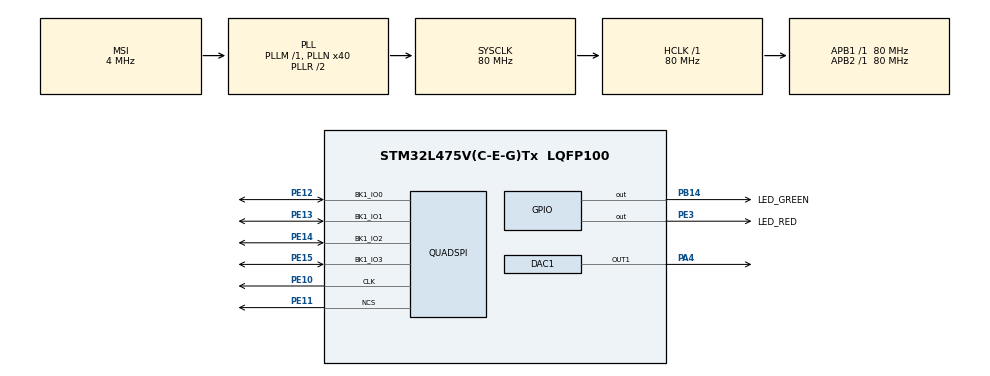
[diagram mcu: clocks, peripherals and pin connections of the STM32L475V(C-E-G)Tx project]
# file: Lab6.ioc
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DAC1.DAC_Trigger-DAC_OUT1=DAC_TRIGGER_T2_TRGO
Dma.DAC_CH1.0.Direction=DMA_MEMORY_TO_PERIPH
Dma.DAC_CH1.0.Instance=DMA1_Channel3
Dma.DAC_CH1.0.MemDataAlignment=DMA_MDATAALIGN_BYTE
Dma.DAC_CH1.0.MemInc=DMA_MINC_ENABLE
Dma.DAC_CH1.0.Mode=DMA_NORMAL
Dma.DAC_CH1.0.PeriphDataAlignment=DMA_PDATAALIGN_BYTE
Dma.DAC_CH1.0.PeriphInc=DMA_PINC_DISABLE
Dma.DAC_CH1.0.Priority=DMA_PRIORITY_LOW
Dma.Request0=DAC_CH1
Mcu.Family=STM32L4
Mcu.Name=STM32L475V(C-E-G)Tx
Mcu.Package=LQFP100
NVIC.DMA1_Channel3_IRQn=true\:0\:0\:false\:false\:true\:false\:true
NVIC.PriorityGroup=NVIC_PRIORITYGROUP_4
NVIC.TIM2_IRQn=true\:0\:0\:false\:false\:true\:true\:true
PA4.Signal=COMP_DAC11_group
PB14.GPIO_Label=LED_GREEN
PB14.Signal=GPIO_Output
PE10.Mode=Single Bank
PE10.Signal=QUADSPI_CLK
PE11.Mode=Single Bank
PE11.Signal=QUADSPI_NCS
PE12.Mode=Single Bank
PE12.Signal=QUADSPI_BK1_IO0
PE13.Mode=Single Bank
PE13.Signal=QUADSPI_BK1_IO1
PE14.Mode=Single Bank
PE14.Signal=QUADSPI_BK1_IO2
PE15.Mode=Single Bank
PE15.Signal=QUADSPI_BK1_IO3
PE3.GPIO_Label=LED_RED
PE3.PinState=GPIO_PIN_SET
PE3.Signal=GPIO_Output
ProjectManager.HeapSize=0x200
ProjectManager.StackSize=0x400
ProjectManager.TargetToolchain=STM32CubeIDE
RCC.ADCFreq_Value=48000000
RCC.AHBFreq_Value=80000000
RCC.APB1Freq_Value=80000000
RCC.APB1TimFreq_Value=80000000
RCC.APB2Freq_Value=80000000
RCC.APB2TimFreq_Value=80000000
RCC.CortexFreq_Value=80000000
RCC.HCLKFreq_Value=80000000
RCC.HSE_VALUE=8000000
RCC.HSI_VALUE=16000000
RCC.LSE_VALUE=32768
RCC.MSI_VALUE=4000000
RCC.PLLN=40
RCC.PLLSAI1N=24
RCC.SYSCLKFreq_VALUE=80000000
RCC.SYSCLKSource=RCC_SYSCLKSOURCE_PLLCLK
RCC.USBFreq_Value=48000000
RCC.VCOOutputFreq_Value=160000000
SH.COMP_DAC11_group.0=DAC1_OUT1,DAC_OUT1
TIM2.Period=1814
TIM2.TIM_MasterOutputTrigger=TIM_TRGO_UPDATE
VP_TIM2_VS_ClockSourceINT.Mode=Internal
board=B-L475E-IOT01A1

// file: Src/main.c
/* USER CODE BEGIN Header */
/**
  ******************************************************************************
  * @file           : main.c
  * @brief          : Main program body
  ******************************************************************************
  * @attention
  *
  * <h2><center>&copy; Copyright (c) 2020 STMicroelectronics.
  * All rights reserved.</center></h2>
  *
  * This software component is licensed by ST under BSD 3-Clause license,
  * the "License"; You may not use this file except in compliance with the
  * License. You may obtain a copy of the License at:
  *                        opensource.org/licenses/BSD-3-Clause
  *
  ******************************************************************************
  */
/* USER CODE END Header */
#include "main.h"

/* USER CODE BEGIN Includes */
#define ARM_MATH_CM4
#include "arm_math.h"
#include "stm32l475e_iot01_qspi.h"

/* USER CODE END Includes */

DAC_HandleTypeDef hdac1;
DMA_HandleTypeDef hdma_dac_ch1;

QSPI_HandleTypeDef hqspi;

TIM_HandleTypeDef htim2;

void SystemClock_Config(void);
static void MX_GPIO_Init(void);
static void MX_DMA_Init(void);
static void MX_DAC1_Init(void);
static void MX_QUADSPI_Init(void);
static void MX_TIM2_Init(void);

/* USER CODE BEGIN 0 */

//The timer frequency is 44.1 kHz,
#define pi 3.14159265
	uint8_t play[22050] = {0};
	uint8_t sensorType = 0;

/* USER CODE END 0 */

int main(void)
{

  /* MCU Configuration--------------------------------------------------------*/

  /* Reset of all peripherals, Initializes the Flash interface and the Systick. */
  HAL_Init();

  /* Configure the system clock */
  SystemClock_Config();

  /* Initialize all configured peripherals */
  MX_GPIO_Init();
  MX_DMA_Init();
  MX_DAC1_Init();
  MX_QUADSPI_Init();
  MX_TIM2_Init();
  /* USER CODE BEGIN 2 */
  BSP_QSPI_Init();
  HAL_TIM_Base_Start_IT(&htim2);

  //Tone 1
  //C6 1046.5 Hz
  //sample n = 44.1k/1046.5 = 42
  	uint8_t C6[42];
  	for(int i = 0; i < 42; i++){
  		C6[i] =  0.33*(1 + arm_sin_f32(2*pi*i/42))*256;
  	}

  //Tone 2
  //E6 1318.5 Hz
  //sample n = 44.1k/1318.5 = 34
  	uint8_t E6[34];
  	for(int i = 0; i < 34; i++){
  		E6[i] =  0.33*(1 + arm_sin_f32(2*pi*i/34))*256;
  	}

  //Tone 3
  //G6 1568.0 Hz
  //sample n = 44.1k/1568 = 28
  	uint8_t G6[28];
  	for(int i = 0; i < 28; i++){
  		G6[i] =  0.33*(1 + arm_sin_f32(2*pi*i/28))*256;
  	}

  //Tone 4
  //A6 1760.0 Hz
  // sample n = 44.1k/1760 = 25
  	uint8_t A6[25];
  	for(int i = 0; i < 25; i++){
  		A6[i] =  0.33*(1 + arm_sin_f32(2*pi*i/25))*256;
  	}

  //Tone 5
  //B6 1975.53 Hz
  //sample n = 44.1k/1975.5 = 22
  	uint8_t B6[22];

  	for(int i = 0; i < 22; i++){
  		B6[i] =  0.33*(1 + arm_sin_f32(2*pi*i/22))*256;
  	}

  //Tone 6
  //B5 987.78 Hz
  //sample n = 44.1k/987.78 = 45
  	uint8_t B5[45];

  	for(int i = 0; i < 45; i++){
  		B5[i] =  0.33*(1 + arm_sin_f32(2*pi*i/45))*256;
  	}

  //Erase 9 blocks prior to write in
  uint32_t addr = 0x000000;
  for(int i = 0; i < 9; i++){
	  if(BSP_QSPI_Erase_Block(addr + i * 0x010000) != QSPI_OK){
		  Error_Handler();
	  }
  }

  //After erased the blocks, we can write in the samples of tones
  //Write in tone1 B5, start at 0
  uint32_t tone_addr = 0x000000;
  for(int i = 0; i < 490; i++){
	  if(BSP_QSPI_Write((uint8_t *)B5, tone_addr, 45) != QSPI_OK){
		  Error_Handler();
	  }
	  tone_addr += 45;
  }
  //Write in tone2 C6, start at 22050
  for(int i = 0; i < 525; i++){
	  if(BSP_QSPI_Write((uint8_t *)C6, tone_addr, 42) != QSPI_OK){
		  Error_Handler();
	  }
	  tone_addr += 42;
  }
  //Write in tone3 E6, start at 44100
  for(int i = 0; i < 648; i++){
	  if(BSP_QSPI_Write((uint8_t *)E6, tone_addr, 34) != QSPI_OK){
		  Error_Handler();
	  }
	  tone_addr += 34;
  }
  //tone_addr = 0x010266;
  //Write in tone4 G6, start at 66150
  for(int i = 0; i < 787; i++){
	  if(BSP_QSPI_Write((uint8_t *)G6, tone_addr, 28) != QSPI_OK){
		  Error_Handler();
	  }
	  tone_addr += 28;
  }
  //tone_addr = 0x015888;
  //Write in tone5 A6, start at 88200
  for(int i = 0; i < 882; i++){
	  if(BSP_QSPI_Write((uint8_t *)A6, tone_addr, 25) != QSPI_OK){
		  Error_Handler();
	  }
	  tone_addr += 25;
  }
  //Write in tone6 B6, start at 110250
  for(int i = 0; i < 1002; i++){
	  if(BSP_QSPI_Write((uint8_t *)B6, tone_addr, 22) != QSPI_OK){
		  Error_Handler();
	  }
	  tone_addr += 22;
  }

  // read the last tone first to make it a perfect loop of the tone
  if(BSP_QSPI_Read((uint8_t *)play, 0x01AEAA, 22050) != QSPI_OK){
	  Error_Handler();
  }
  HAL_DAC_Start_DMA(&hdac1, DAC_CHANNEL_1, play, 22050, DAC_ALIGN_8B_R);
  /* USER CODE END 2 */

  /* Infinite loop */
  while (1)
  {

  }
}

void SystemClock_Config(void)
{
  RCC_OscInitTypeDef RCC_OscInitStruct = {0};
  RCC_ClkInitTypeDef RCC_ClkInitStruct = {0};

  /** Initializes the RCC Oscillators according to the specified parameters
  * in the RCC_OscInitTypeDef structure.
  */
  RCC_OscInitStruct.OscillatorType = RCC_OSCILLATORTYPE_MSI;
  RCC_OscInitStruct.MSIState = RCC_MSI_ON;
  RCC_OscInitStruct.MSICalibrationValue = 0;
  RCC_OscInitStruct.MSIClockRange = RCC_MSIRANGE_6;
  RCC_OscInitStruct.PLL.PLLState = RCC_PLL_ON;
  RCC_OscInitStruct.PLL.PLLSource = RCC_PLLSOURCE_MSI;
  RCC_OscInitStruct.PLL.PLLM = 1;
  RCC_OscInitStruct.PLL.PLLN = 40;
  RCC_OscInitStruct.PLL.PLLP = RCC_PLLP_DIV7;
  RCC_OscInitStruct.PLL.PLLQ = RCC_PLLQ_DIV2;
  RCC_OscInitStruct.PLL.PLLR = RCC_PLLR_DIV2;
  if (HAL_RCC_OscConfig(&RCC_OscInitStruct) != HAL_OK)
  {
    Error_Handler();
  }
  /** Initializes the CPU, AHB and APB buses clocks
  */
  RCC_ClkInitStruct.ClockType = RCC_CLOCKTYPE_HCLK|RCC_CLOCKTYPE_SYSCLK
                              |RCC_CLOCKTYPE_PCLK1|RCC_CLOCKTYPE_PCLK2;
  RCC_ClkInitStruct.SYSCLKSource = RCC_SYSCLKSOURCE_PLLCLK;
  RCC_ClkInitStruct.AHBCLKDivider = RCC_SYSCLK_DIV1;
  RCC_ClkInitStruct.APB1CLKDivider = RCC_HCLK_DIV1;
  RCC_ClkInitStruct.APB2CLKDivider = RCC_HCLK_DIV1;

  if (HAL_RCC_ClockConfig(&RCC_ClkInitStruct, FLASH_LATENCY_4) != HAL_OK)
  {
    Error_Handler();
  }
  /** Configure the main internal regulator output voltage
  */
  if (HAL_PWREx_ControlVoltageScaling(PWR_REGULATOR_VOLTAGE_SCALE1) != HAL_OK)
  {
    Error_Handler();
  }
}

static void MX_DAC1_Init(void)
{

  DAC_ChannelConfTypeDef sConfig = {0};

  /** DAC Initialization
  */
  hdac1.Instance = DAC1;
  if (HAL_DAC_Init(&hdac1) != HAL_OK)
  {
    Error_Handler();
  }
  /** DAC channel OUT1 config
  */
  sConfig.DAC_SampleAndHold = DAC_SAMPLEANDHOLD_DISABLE;
  sConfig.DAC_Trigger = DAC_TRIGGER_T2_TRGO;
  sConfig.DAC_OutputBuffer = DAC_OUTPUTBUFFER_ENABLE;
  sConfig.DAC_ConnectOnChipPeripheral = DAC_CHIPCONNECT_DISABLE;
  sConfig.DAC_UserTrimming = DAC_TRIMMING_FACTORY;
  if (HAL_DAC_ConfigChannel(&hdac1, &sConfig, DAC_CHANNEL_1) != HAL_OK)
  {
    Error_Handler();
  }

}

static void MX_QUADSPI_Init(void)
{

  /* QUADSPI parameter configuration*/
  hqspi.Instance = QUADSPI;
  hqspi.Init.ClockPrescaler = 255;
  hqspi.Init.FifoThreshold = 1;
  hqspi.Init.SampleShifting = QSPI_SAMPLE_SHIFTING_NONE;
  hqspi.Init.FlashSize = 1;
  hqspi.Init.ChipSelectHighTime = QSPI_CS_HIGH_TIME_1_CYCLE;
  hqspi.Init.ClockMode = QSPI_CLOCK_MODE_0;
  if (HAL_QSPI_Init(&hqspi) != HAL_OK)
  {
    Error_Handler();
  }

}

static void MX_TIM2_Init(void)
{

  TIM_ClockConfigTypeDef sClockSourceConfig = {0};
  TIM_MasterConfigTypeDef sMasterConfig = {0};

  htim2.Instance = TIM2;
  htim2.Init.Prescaler = 0;
  htim2.Init.CounterMode = TIM_COUNTERMODE_UP;
  htim2.Init.Period = 1814;
  htim2.Init.ClockDivision = TIM_CLOCKDIVISION_DIV1;
  htim2.Init.AutoReloadPreload = TIM_AUTORELOAD_PRELOAD_DISABLE;
  if (HAL_TIM_Base_Init(&htim2) != HAL_OK)
  {
    Error_Handler();
  }
  sClockSourceConfig.ClockSource = TIM_CLOCKSOURCE_INTERNAL;
  if (HAL_TIM_ConfigClockSource(&htim2, &sClockSourceConfig) != HAL_OK)
  {
    Error_Handler();
  }
  sMasterConfig.MasterOutputTrigger = TIM_TRGO_UPDATE;
  sMasterConfig.MasterSlaveMode = TIM_MASTERSLAVEMODE_DISABLE;
  if (HAL_TIMEx_MasterConfigSynchronization(&htim2, &sMasterConfig) != HAL_OK)
  {
    Error_Handler();
  }

}

static void MX_DMA_Init(void)
{

  /* DMA controller clock enable */
  __HAL_RCC_DMA1_CLK_ENABLE();

  /* DMA interrupt init */
  /* DMA1_Channel3_IRQn interrupt configuration */
  HAL_NVIC_SetPriority(DMA1_Channel3_IRQn, 0, 0);
  HAL_NVIC_EnableIRQ(DMA1_Channel3_IRQn);

}

static void MX_GPIO_Init(void)
{
  GPIO_InitTypeDef GPIO_InitStruct = {0};

  /* GPIO Ports Clock Enable */
  __HAL_RCC_GPIOE_CLK_ENABLE();
  __HAL_RCC_GPIOA_CLK_ENABLE();
  __HAL_RCC_GPIOB_CLK_ENABLE();

  /*Configure GPIO pin Output Level */
  HAL_GPIO_WritePin(LED_RED_GPIO_Port, LED_RED_Pin, GPIO_PIN_SET);

  /*Configure GPIO pin Output Level */
  HAL_GPIO_WritePin(LED_GREEN_GPIO_Port, LED_GREEN_Pin, GPIO_PIN_RESET);

  /*Configure GPIO pin : LED_RED_Pin */
  GPIO_InitStruct.Pin = LED_RED_Pin;
  GPIO_InitStruct.Mode = GPIO_MODE_OUTPUT_PP;
  GPIO_InitStruct.Pull = GPIO_NOPULL;
  GPIO_InitStruct.Speed = GPIO_SPEED_FREQ_LOW;
  HAL_GPIO_Init(LED_RED_GPIO_Port, &GPIO_InitStruct);

  /*Configure GPIO pin : LED_GREEN_Pin */
  GPIO_InitStruct.Pin = LED_GREEN_Pin;
  GPIO_InitStruct.Mode = GPIO_MODE_OUTPUT_PP;
  GPIO_InitStruct.Pull = GPIO_NOPULL;
  GPIO_InitStruct.Speed = GPIO_SPEED_FREQ_LOW;
  HAL_GPIO_Init(LED_GREEN_GPIO_Port, &GPIO_InitStruct);

}

/* USER CODE BEGIN 4 */

void HAL_DAC_ConvHalfCpltCallbackCh1 (DAC_HandleTypeDef * hdac){

}

void HAL_DAC_ConvCpltCallbackCh1 (DAC_HandleTypeDef * hdac){
	HAL_GPIO_TogglePin(LED_GREEN_GPIO_Port, LED_GREEN_Pin);
	if(sensorType == 0){
		if(BSP_QSPI_Read((uint8_t *)play, 0x000000, 22050) != QSPI_OK){
			  Error_Handler();
		  }
		HAL_DAC_Start_DMA(&hdac1, DAC_CHANNEL_1, play, 22050, DAC_ALIGN_8B_R);

	}
	if(sensorType == 1){
		if(BSP_QSPI_Read((uint8_t *)play, 0x005622, 22050) != QSPI_OK){
			  Error_Handler();
		  }
		HAL_DAC_Start_DMA(&hdac1, DAC_CHANNEL_1, play, 22050, DAC_ALIGN_8B_R);

	}
	if(sensorType == 2){
		if(BSP_QSPI_Read((uint8_t *)play, 0x00AC44, 22050) != QSPI_OK){
			  Error_Handler();
		  }
		HAL_DAC_Start_DMA(&hdac1, DAC_CHANNEL_1, play, 22050, DAC_ALIGN_8B_R);

	}
	if(sensorType == 3){
		if(BSP_QSPI_Read((uint8_t *)play, 0x010266, 22050) != QSPI_OK){
			  Error_Handler();
		  }
		HAL_DAC_Start_DMA(&hdac1, DAC_CHANNEL_1, play, 22050, DAC_ALIGN_8B_R);

	}
	if(sensorType == 4){
		if(BSP_QSPI_Read((uint8_t *)play, 0x015888, 22050) != QSPI_OK){
			  Error_Handler();
		  }
		HAL_DAC_Start_DMA(&hdac1, DAC_CHANNEL_1, play, 22050, DAC_ALIGN_8B_R);

	}
	if(sensorType == 5){
		if(BSP_QSPI_Read((uint8_t *)play, 0x01AEAA, 22050) != QSPI_OK){
			  Error_Handler();
		  }
		HAL_DAC_Start_DMA(&hdac1, DAC_CHANNEL_1, play, 22050, DAC_ALIGN_8B_R);
	}
	if(sensorType == 5){
		sensorType = 0;
	}else{
		sensorType++;
	}

}

/* USER CODE END 4 */

void Error_Handler(void)
{
  /* USER CODE BEGIN Error_Handler_Debug */
  /* User can add his own implementation to report the HAL error return state */
	HAL_GPIO_WritePin(LED_RED_GPIO_Port, LED_RED_Pin, GPIO_PIN_RESET);
	__BKPT();

  /* USER CODE END Error_Handler_Debug */
}

/************************ (C) COPYRIGHT STMicroelectronics *****END OF FILE****/
